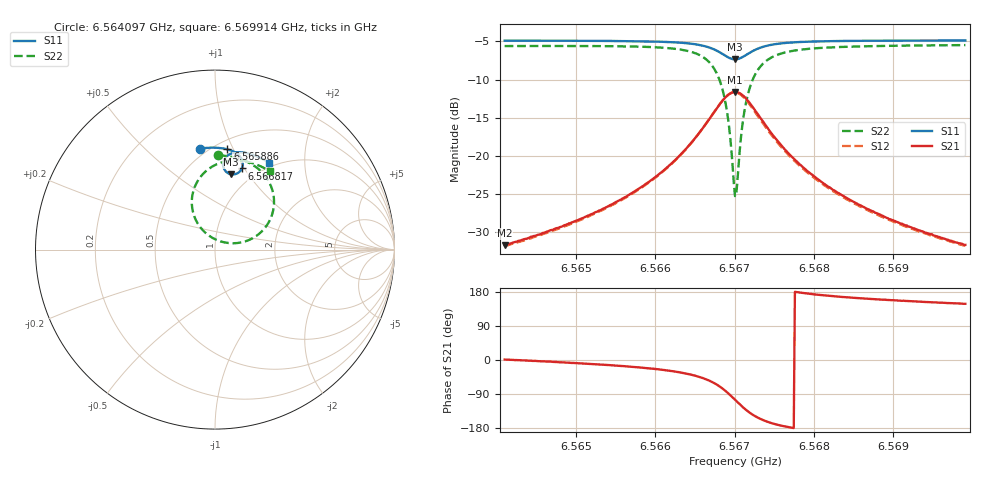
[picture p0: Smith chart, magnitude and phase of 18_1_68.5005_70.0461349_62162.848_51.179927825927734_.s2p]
#  HZ  S  RI  R  50.00
! Rohde & Schwarz Vector Network Analyzer
! Rohde-Schwarz,ZNB20-2Port,1311601062101988,3.16
! Created: UTC 3/20/2024, 5:04:33 PM
! freq[Hz]  re:S11  im:S11  re:S21  im:S21  re:S12  im:S12  re:S22  im:S22
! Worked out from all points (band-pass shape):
!   401 points, 6.564097 GHz to 6.569914 GHz, reference 50 ohm
!   highest |S21| = -11.60 dB at 6.567006 GHz (marker M1); lowest = -31.7 dB at 6.564097 GHz (marker M2)
!   |S21| within 3 dB of the highest: 6.566719 GHz to 6.567297 GHz (578.7 kHz wide, 0.00881 % of centre)
!   lowest |S11| = -7.3 dB at 6.567006 GHz (marker M3), VSWR 2.50, Z = 40.6 + j41.7 ohm
!   |S11| at or under -10 dB: nowhere
!   |S22| runs from -25.2 to -5.5 dB; largest |S21 - S12| = 0.012
!   S11 on the Smith chart (normalised r, x): 6.564097 GHz: 0.45, +0.76; 6.565886 GHz: 0.58, +0.95; 6.566817 GHz: 0.83, +0.98; 6.569914 GHz: 0.94, +1.35
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6.5640972e9  -0.0825 0.5629  0.026 0.000538  0.0257 0.000159  0.016 0.5246
6.5650715e9  -0.00402 0.5679  0.0385 -0.00619  0.0379 -0.00664  0.1051 0.5142
6.5658859e9  0.0692 0.5588  0.0614 -0.0239  0.0603 -0.0246  0.2025 0.4771
6.5660458e9  0.0854 0.5539  0.069 -0.0318  0.0679 -0.0328  0.2272 0.4607
6.5663657e9  0.1208 0.5362  0.089 -0.0618  0.0875 -0.063  0.2857 0.4016
6.5665839e9  0.1454 0.5096  0.1022 -0.1078  0.1 -0.1098  0.3241 0.3128
6.5667147e9  0.1544 0.4814  0.0984 -0.1567  0.0946 -0.1595  0.3245 0.2196
6.5668165e9  0.1499 0.4522  0.0731 -0.207  0.067 -0.2097  0.2814 0.125
6.5669038e9  0.13 0.4282  0.0222 -0.2465  0.0131 -0.2473  0.1892 0.0534
6.5669329e9  0.1195 0.4227  -0.00132 -0.2546  -0.0115 -0.2539  0.1465 0.04
6.566991e9  0.0955 0.419  -0.0543 -0.2567  -0.0647 -0.2526  0.0526 0.0401
6.5670056e9  0.0892 0.4199  -0.0677 -0.2542  -0.078 -0.2491  0.0292 0.0462
6.5670347e9  0.0772 0.4236  -0.0934 -0.2447  -0.1027 -0.2378  -0.0143 0.0655
6.5670928e9  0.0578 0.4384  -0.1349 -0.2132  -0.1416 -0.2038  -0.0826 0.1256
6.5671364e9  0.0491 0.4531  -0.1554 -0.1836  -0.1595 -0.1735  -0.1134 0.1801
6.5671946e9  0.045 0.4733  -0.1683 -0.1435  -0.1696 -0.1338  -0.1289 0.2513
6.5672673e9  0.0489 0.4952  -0.1683 -0.1006  -0.1672 -0.0924  -0.1208 0.3257
6.5675291e9  0.0881 0.5343  -0.1261 -0.0217  -0.1234 -0.0181  -0.0249 0.4568
6.5679799e9  0.1468 0.5421  -0.0748 0.00785  -0.0731 0.00916  0.0957 0.4964
6.568387e9  0.187 0.535  -0.0525 0.0132  -0.0513 0.0137  0.1611 0.4931
6.5689542e9  0.2343 0.519  -0.0358 0.0143  -0.0351 0.0147  0.2252 0.4758
6.5699139e9  0.3035 0.4835  -0.0223 0.0137  -0.0218 0.0138  0.305 0.4366
